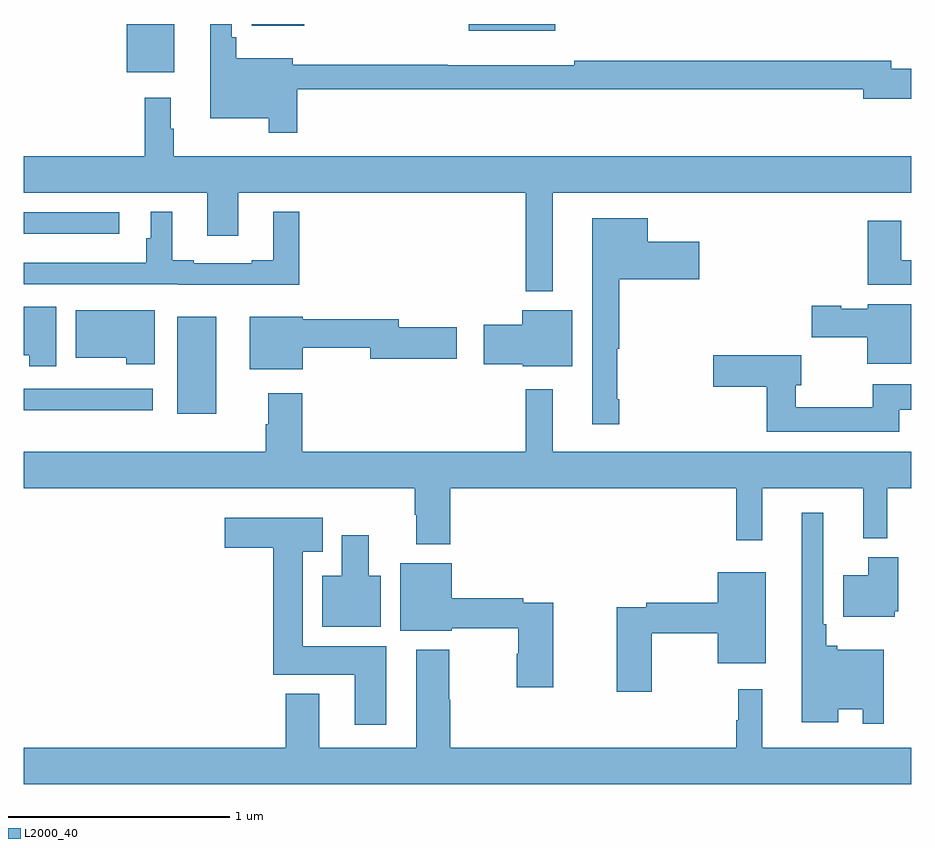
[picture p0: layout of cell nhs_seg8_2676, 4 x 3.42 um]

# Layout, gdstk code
import gdstk
lib = gdstk.Library(unit=1e-6, precision=1e-09)
def R(c, l, rs):  # rectangles x0, y0, x1, y1
    for r in rs: c.add(gdstk.rectangle(r[:2], r[2:], *l))
def P(c, l, *ps):  # polygons
    for p in ps: c.add(gdstk.Polygon(p, *l))
L2000_40 = (2000, 40)

nhs_seg8_2676 = lib.new_cell('nhs_seg8_2676')
R(nhs_seg8_2676, L2000_40, [(279.692,1142.144,279.868,1142.581), (279,1142.954,279.43,1143.051), (279.464,1143.683,279.679,1143.9), (281.006,1143.869,281.395,1143.9), (280.028,1143.893,280.264,1143.9)])
P(nhs_seg8_2676, L2000_40, [(280.232,1143.606),(282.782,1143.606),(282.782,1143.563),(283,1143.563),(283,1143.698),(282.91,1143.698),(282.91,1143.734),(281.482,1143.734),(281.482,1143.715),(280.91,1143.715),(280.91,1143.716),(280.213,1143.716),(280.213,1143.745),(279.959,1143.745),(279.959,1143.841),(279.939,1143.841),(279.939,1143.9),(279.842,1143.9),(279.842,1143.476),(280.104,1143.476),(280.104,1143.411),(280.232,1143.411)],
  [(281.383,1143.14),(283,1143.14),(283,1143.304),(279.676,1143.304),(279.676,1143.428),(279.664,1143.428),(279.664,1143.568),(279.547,1143.568),(279.547,1143.304),(279,1143.304),(279,1143.14),(279.827,1143.14),(279.827,1142.946),(279.967,1142.946),(279.967,1143.14),(281.262,1143.14),(281.262,1142.696),(281.383,1142.696)],
  [(280.241,1143.055),(280.124,1143.055),(280.124,1142.836),(280.028,1142.836),(280.028,1142.823),(279.766,1142.823),(279.766,1142.836),(279.67,1142.836),(279.67,1143.055),(279.572,1143.055),(279.572,1142.934),(279.553,1142.934),(279.553,1142.824),(279,1142.824),(279,1142.727),(279.696,1142.727),(279.696,1142.726),(280.241,1142.726)],
  [(281.683,1142.209),(281.675,1142.209),(281.675,1142.438),(281.683,1142.438),(281.683,1142.75),(282.043,1142.75),(282.043,1142.92),(281.812,1142.92),(281.812,1143.025),(281.561,1143.025),(281.561,1142.097),(281.683,1142.097)],
  [(283,1142.836),(282.955,1142.836),(282.955,1143.013),(282.803,1143.013),(282.803,1142.726),(283,1142.726)],
  [(283,1142.638),(282.804,1142.638),(282.804,1142.617),(282.684,1142.617),(282.684,1142.63),(282.552,1142.63),(282.552,1142.488),(282.8,1142.488),(282.8,1142.369),(283,1142.369)],
  [(279.148,1142.626),(279,1142.626),(279,1142.408),(279.026,1142.408),(279.026,1142.358),(279.148,1142.358)],
  [(279.592,1142.611),(279.236,1142.611),(279.236,1142.396),(279.463,1142.396),(279.463,1142.366),(279.592,1142.366)],
  [(281.473,1142.611),(281.246,1142.611),(281.246,1142.546),(281.073,1142.546),(281.073,1142.368),(281.25,1142.368),(281.25,1142.357),(281.473,1142.357)],
  [(280.258,1142.442),(280.562,1142.442),(280.562,1142.392),(280.951,1142.392),(280.951,1142.534),(280.69,1142.534),(280.69,1142.57),(280.258,1142.57),(280.258,1142.581),(280.019,1142.581),(280.019,1142.345),(280.258,1142.345)],
  [(282.946,1142.162),(283,1142.162),(283,1142.278),(282.825,1142.278),(282.825,1142.173),(282.478,1142.173),(282.478,1142.273),(282.504,1142.273),(282.504,1142.408),(282.108,1142.408),(282.108,1142.266),(282.349,1142.266),(282.349,1142.064),(282.946,1142.064)],
  [(279.583,1142.257),(279.244,1142.257),(279.244,1142.256),(279,1142.256),(279,1142.159),(279.583,1142.159)],
  [(280.922,1141.808),(282.211,1141.808),(282.211,1141.575),(282.329,1141.575),(282.329,1141.808),(282.782,1141.808),(282.782,1141.583),(282.892,1141.583),(282.892,1141.808),(283,1141.808),(283,1141.972),(281.383,1141.972),(281.383,1142.254),(281.262,1142.254),(281.262,1141.972),(280.256,1141.972),(280.256,1142.236),(280.103,1142.236),(280.103,1142.096),(280.091,1142.096),(280.091,1141.972),(279,1141.972),(279,1141.808),(280.762,1141.808),(280.762,1141.688),(280.769,1141.688),(280.769,1141.556),(280.922,1141.556)],
  [(282.876,1141.081),(282.666,1141.081),(282.666,1141.099),(282.616,1141.099),(282.616,1141.195),(282.603,1141.195),(282.603,1141.699),(282.506,1141.699),(282.506,1140.755),(282.67,1140.755),(282.67,1140.812),(282.78,1140.812),(282.78,1140.747),(282.876,1140.747)],
  [(280.633,1141.096),(280.258,1141.096),(280.258,1141.523),(280.348,1141.523),(280.348,1141.675),(279.906,1141.675),(279.906,1141.541),(280.124,1141.541),(280.124,1140.968),(280.493,1140.968),(280.493,1140.744),(280.633,1140.744)],
  [(280.609,1141.414),(280.555,1141.414),(280.555,1141.597),(280.433,1141.597),(280.433,1141.414),(280.346,1141.414),(280.346,1141.184),(280.609,1141.184)],
  [(282.924,1141.254),(282.94,1141.254),(282.94,1141.498),(282.806,1141.498),(282.806,1141.417),(282.692,1141.417),(282.692,1141.229),(282.924,1141.229)],
  [(281.386,1141.293),(281.252,1141.293),(281.252,1141.313),(280.93,1141.313),(280.93,1141.471),(280.697,1141.471),(280.697,1141.166),(280.93,1141.166),(280.93,1141.177),(281.228,1141.177),(281.228,1141.062),(281.221,1141.062),(281.221,1140.912),(281.386,1140.912)],
  [(281.83,1141.156),(282.128,1141.156),(282.128,1141.019),(282.343,1141.019),(282.343,1141.429),(282.128,1141.429),(282.128,1141.292),(281.806,1141.292),(281.806,1141.272),(281.672,1141.272),(281.672,1140.891),(281.83,1140.891)],
  [(283,1140.64),(282.329,1140.64),(282.329,1140.904),(282.219,1140.904),(282.219,1140.764),(282.211,1140.764),(282.211,1140.64),(280.922,1140.64),(280.922,1140.855),(280.917,1140.855),(280.917,1141.081),(280.769,1141.081),(280.769,1140.64),(280.333,1140.64),(280.333,1140.883),(280.181,1140.883),(280.181,1140.64),(279,1140.64),(279,1140.476),(283,1140.476)])

lib.write_gds('nhs_seg8_2676.gds')
